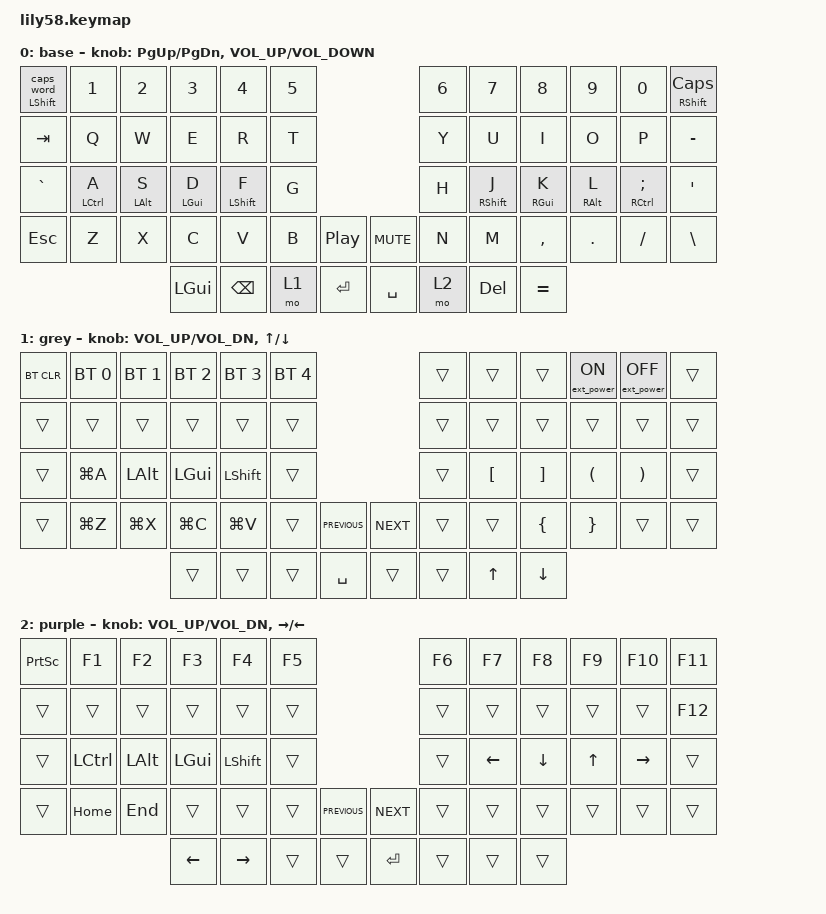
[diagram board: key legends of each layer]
/*
 * Copyright (c) 2020 The ZMK Contributors
 *
 * SPDX-License-Identifier: MIT
 */

#include <dt-bindings/led/led.h>
#include <behaviors.dtsi>
#include <dt-bindings/zmk/bt.h>
#include <dt-bindings/zmk/ext_power.h>
#include <dt-bindings/zmk/keys.h>

&nice_view_spi { cs-gpios = <&pro_micro 4 GPIO_ACTIVE_HIGH>; };

&left_encoder {
    a-gpios = <&pro_micro 20 (GPIO_ACTIVE_HIGH | GPIO_PULL_UP)>;
    b-gpios = <&pro_micro 21 (GPIO_ACTIVE_HIGH | GPIO_PULL_UP)>;
    steps = <72>;
};

&sensors {
    compatible = "zmk,keymap-sensors";
    sensors = <&left_encoder &right_encoder>;
    triggers-per-rotation = <18>;
};

&spi3 {
    compatible = "nordic,nrf-spim";
    status = "okay";
    pinctrl-0 = <&spi3_default>;
    pinctrl-1 = <&spi3_sleep>;
    pinctrl-names = "default", "sleep";

    led_strip: ws2812@0 {
        compatible = "worldsemi,ws2812-spi";

        /* SPI */

        reg = <0>; /* ignored, but necessary for SPI bindings */
        spi-max-frequency = <4000000>;

        /* WS2812 */

        chain-length = <36>; /* number of LEDs */
        spi-one-frame = <0x70>;
        spi-zero-frame = <0x40>;
        color-mapping = <
            LED_COLOR_ID_GREEN
            LED_COLOR_ID_RED
            LED_COLOR_ID_BLUE
        >;
    };
};

&pinctrl {
    spi3_default: spi3_default {
        group1 { psels = <NRF_PSEL(SPIM_MOSI, 0, 6)>; };
    };

    spi3_sleep: spi3_sleep {
        group1 {
            psels = <NRF_PSEL(SPIM_MOSI, 0, 6)>;
            low-power-enable;
        };
    };
};

/ {
    behaviors {
        left_homerow_mod: left_homerow_mod {
            compatible = "zmk,behavior-hold-tap";
            label = "LEFT_HOMEROW_MOD";
            bindings = <&kp>, <&kp>;

            #binding-cells = <2>;
            tapping-term-ms = <500>;
            quick-tap-ms = <175>;
            require-prior-idle-ms = <150>;
            flavor = "balanced";
            hold-trigger-key-positions = <6 7 8 9 10 11 18 19 20 21 22 23 30 31 32 33 34 35 44 45 46 47 48 49 55 56 57 18 30 42 43 44 53 54 55 50 51 52>;
            hold-trigger-on-release;
        };

        right_homerow_mod: right_homerow_mod {
            compatible = "zmk,behavior-hold-tap";
            label = "RIGHT_HOMEROW_MOD";
            bindings = <&kp>, <&kp>;

            #binding-cells = <2>;
            hold-trigger-key-positions = <0 1 2 3 4 5 12 13 14 15 16 17 24 25 26 27 28 29 36 37 38 39 40 41 42 43 50 51 52 53 54 54 55 56 57>;
            hold-trigger-on-release;
            flavor = "balanced";
            tapping-term-ms = <500>;
            quick-tap-ms = <175>;
            require-prior-idle-ms = <150>;
        };

        layer_td_1: layer_td_1 {
            compatible = "zmk,behavior-tap-dance";
            label = "LAYER_TD_1";
            #binding-cells = <0>;
            bindings = <&mo 1>, <&to 1>;
        };

        layer_td_2: layer_td_2 {
            compatible = "zmk,behavior-tap-dance";
            label = "LAYER_TD_2";
            #binding-cells = <0>;
            bindings = <&mo 2>, <&to 2>;
        };

        shift_caps_word: shift_caps_word {
            compatible = "zmk,behavior-hold-tap";
            label = "SHIFT_CAPS_WORD";
            bindings = <&kp>, <&caps_word>;

            #binding-cells = <2>;
            tapping-term-ms = <150>;
        };

        shift_caps_lock: shift_caps_lock {
            compatible = "zmk,behavior-hold-tap";
            label = "SHIFT_CAPS_LOCK";
            bindings = <&kp>, <&kt>;

            #binding-cells = <2>;
            tapping-term-ms = <150>;
        };

        layer_hold: layer_hold {
            compatible = "zmk,behavior-hold-tap";
            label = "LAYER_HOLD";
            bindings = <&mo>, <&to>;

            #binding-cells = <2>;
            tapping-term-ms = <150>;
        };
    };

    keymap {
        compatible = "zmk,keymap";

        default_layer {
            display-name = "base";

            // ------------------------------------------------------------------------------------------------------------
            // |  ESC  |  1  |  2  |  3   |  4   |  5   |                   |  6   |  7    |  8    |  9   |   0   |   `   |
            // |  TAB  |  Q  |  W  |  E   |  R   |  T   |                   |  Y   |  U    |  I    |  O   |   P   |   -   |
            // |  CTRL |  A  |  S  |  D   |  F   |  G   |                   |  H   |  J    |  K    |  L   |   ;   |   '   |
            // | SHIFT |  Z  |  X  |  C   |  V   |  B   |   "["  |  |  "]"  |  N   |  M    |  ,    |  .   |   /   | SHIFT |
            //                     | ALT  | GUI  | LOWER|  SPACE |  | ENTER | RAISE| BSPC  | GUI   |

            bindings = <
&shift_caps_word LEFT_SHIFT 0  &kp N1                            &kp N2                        &kp N3                        &kp N4                          &kp N5                                  &kp N6  &kp N7                            &kp N8                          &kp N9                          &kp N0                                 &shift_caps_lock RSHIFT CAPSLOCK
&kp TAB                        &kp Q                             &kp W                         &kp E                         &kp R                           &kp T                                   &kp Y   &kp U                             &kp I                           &kp O                           &kp P                                  &kp MINUS
&kp GRAVE                      &left_homerow_mod LEFT_CONTROL A  &left_homerow_mod LEFT_ALT S  &left_homerow_mod LEFT_GUI D  &left_homerow_mod LEFT_SHIFT F  &kp G                                   &kp H   &right_homerow_mod RIGHT_SHIFT J  &right_homerow_mod RIGHT_GUI K  &right_homerow_mod RIGHT_ALT L  &right_homerow_mod RIGHT_CONTROL SEMI  &kp SQT
&kp ESCAPE                     &kp Z                             &kp X                         &kp C                         &kp V                           &kp B   &kp C_PLAY_PAUSE    &kp K_MUTE  &kp N   &kp M                             &kp COMMA                       &kp DOT                         &kp FSLH                               &kp BACKSLASH
                                                                                               &kp LEFT_GUI                  &kp BACKSPACE                   &mo 1   &kp ENTER           &kp SPACE   &mo 2   &kp DELETE                        &kp EQUAL
            >;

            sensor-bindings =
                <&inc_dec_kp PAGE_UP PAGE_DOWN>,
                <&inc_dec_kp C_VOLUME_UP C_VOLUME_DOWN>;
        };

        grey {
            display-name = "grey";

            // ------------------------------------------------------------------------------------------------------------
            // | BTCLR | BT1 | BT2 |  BT3 |  BT4 |  BT5 |                   |      |       |       |      |       |       |
            // |  F1   |  F2 |  F3 |  F4  |  F5  |  F6  |                   |  F7  |  F8   |  F9   |  F10 |  F11  |  F12  |
            // |   `   |  !  |  @  |  #   |  $   |  %   |                   |  ^   |  &    |  *    |  (   |   )   |   ~   |
            // |       |     |     |      |      |      |        |  |       |      |  _    |  +    |  {   |   }   |  "|"  |
            //                     |      |      |      |        |  |       |      |       |       |

            bindings = <
&bt BT_CLR  &bt BT_SEL 0  &bt BT_SEL 1  &bt BT_SEL 2  &bt BT_SEL 3    &bt BT_SEL 4                                &trans  &trans            &trans             &ext_power EP_ON  &ext_power EP_OFF  &trans
&trans      &trans        &trans        &trans        &trans          &trans                                      &trans  &trans            &trans             &trans            &trans             &trans
&trans      &kp LG(A)     &kp LEFT_ALT  &kp LEFT_GUI  &kp LEFT_SHIFT  &trans                                      &trans  &kp LEFT_BRACKET  &kp RIGHT_BRACKET  &kp LPAR          &kp RPAR           &trans
&trans      &kp LG(Z)     &kp LG(X)     &kp LG(C)     &kp LG(V)       &trans        &kp K_PREVIOUS    &kp K_NEXT  &trans  &trans            &kp LBRC           &kp RBRC          &trans             &trans
                                        &trans        &trans          &trans        &kp SPACE         &trans      &trans  &kp UP_ARROW      &kp DOWN
            >;

            sensor-bindings =
                <&inc_dec_kp C_VOL_UP C_VOL_DN>,
                <&inc_dec_kp UP_ARROW DOWN_ARROW>;
        };

        purple {
            display-name = "purple";

            // ------------------------------------------------------------------------------------------------------------
            // |       |     |     |      |      |      |                   |      |       |       |      |       |       |
            // |   `   |  1  |  2  |  3   |  4   |  5   |                   |  6   |   7   |   8   |  9   |   0   |       |
            // |   F1  |  F2 |  F3 |  F4  |  F5  |  F6  |                   |      |   <-  |   v   |  ^   |  ->   |       |
            // |   F7  |  F8 |  F9 |  F10 |  F11 |  F12 |        |  |       |  +   |   -   |   =   |  [   |   ]   |   \   |
            //                     |      |      |      |        |  |       |      |       |       |

            bindings = <
&kp PRINTSCREEN  &kp F1     &kp F2        &kp F3          &kp F4          &kp F5                                &kp F6  &kp F7    &kp F8    &kp F9  &kp F10    &kp F11
&trans           &trans     &trans        &trans          &trans          &trans                                &trans  &trans    &trans    &trans  &trans     &kp F12
&trans           &kp LCTRL  &kp LEFT_ALT  &kp LEFT_GUI    &kp LEFT_SHIFT  &trans                                &trans  &kp LEFT  &kp DOWN  &kp UP  &kp RIGHT  &trans
&trans           &kp HOME   &kp END       &trans          &trans          &trans  &kp K_PREVIOUS    &kp K_NEXT  &trans  &trans    &trans    &trans  &trans     &trans
                                          &kp LEFT_ARROW  &kp RIGHT       &trans  &trans            &kp ENTER   &trans  &trans    &trans
            >;

            sensor-bindings =
                <&inc_dec_kp C_VOL_UP C_VOL_DN>,
                <&inc_dec_kp RIGHT LEFT>;
        };
    };
};
